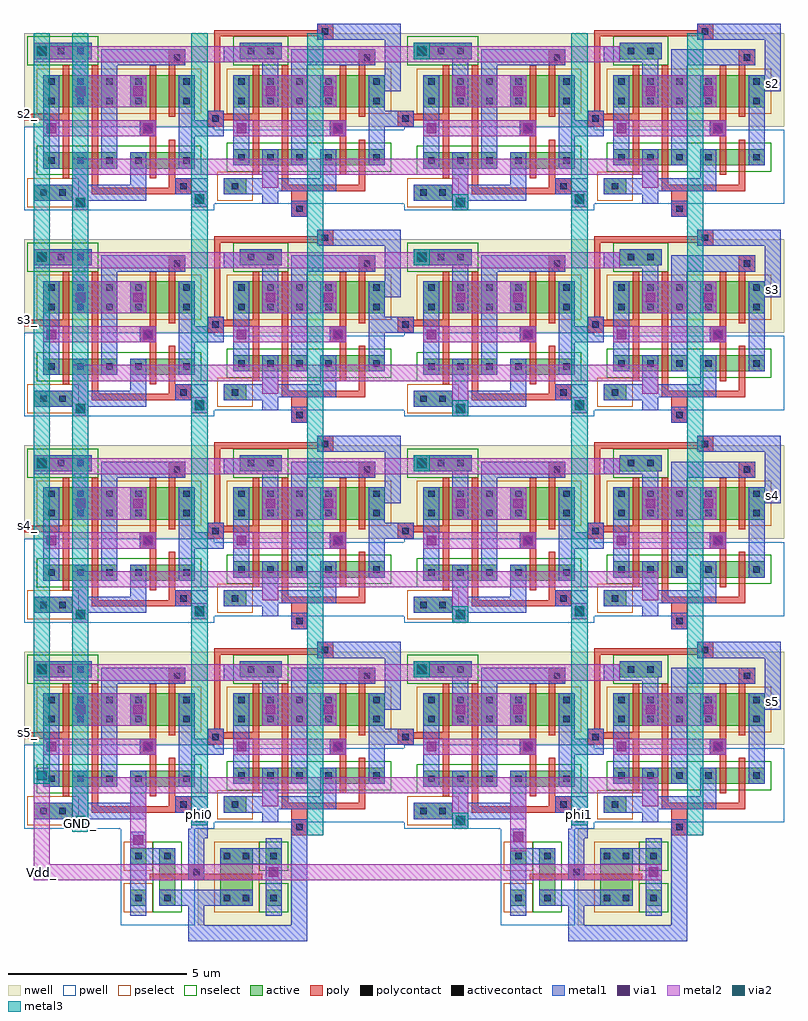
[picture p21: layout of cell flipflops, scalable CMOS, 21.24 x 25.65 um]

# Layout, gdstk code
from math import pi, radians
import gdstk
lib = gdstk.Library(unit=1e-6, precision=1e-09)
def R(c, l, rs):  # rectangles x0, y0, x1, y1
    for r in rs: c.add(gdstk.rectangle(r[:2], r[2:], *l))
def A(c, l, x, y, w, h, nx, ny, dx, dy):  # array of equal rectangles
    R(c, l, [(x+i*dx, y+j*dy, x+i*dx+w, y+j*dy+h) for i in range(nx) for j in range(ny)])
pwell = (41, 0)
nwell = (42, 0)
active = (43, 0)
pselect = (44, 0)
nselect = (45, 0)
poly = (46, 0)
polycontact = (47, 0)
activecontact = (48, 0)
metal1 = (49, 0)
via1 = (50, 0)
metal2 = (51, 0)
via2 = (61, 0)
metal3 = (62, 0)

latch_one = lib.new_cell('latch_one')
R(latch_one, pwell, [(-0.99,-6.03,4.32,-3.69)])
R(latch_one, nwell, [(-0.99,-3.69,4.32,-1.08)])
R(latch_one, active, [(-0.72,-5.76,0.36,-5.31), (-0.45,-4.86,1.62,-4.41), (1.98,-4.86,3.78,-4.41), (-0.45,-3.15,1.62,-2.25), (1.98,-3.15,3.78,-2.25), (-0.72,-1.8,0.9,-1.35)])
R(latch_one, pselect, [(-0.9,-5.94,0.54,-5.13), (-0.63,-3.33,3.96,-2.07)])
R(latch_one, nselect, [(-0.63,-5.04,3.96,-4.23), (-0.9,-1.98,1.08,-1.17)])
R(latch_one, poly, [(0.9,-5.58,3.69,-5.4), (0.9,-5.4,1.08,-1.98), (3.06,-5.4,3.69,-5.13), (0.09,-5.13,0.27,-3.51), (2.52,-5.13,2.7,-3.96), (3.06,-5.13,3.24,-4.05), (2.25,-3.96,2.7,-3.51), (-0.99,-3.51,0.27,-3.33), (2.52,-3.51,2.7,-1.98), (3.06,-3.42,3.24,-1.98), (0.09,-3.33,0.27,-1.98), (3.06,-1.98,3.51,-1.53)])
R(latch_one, polycontact, [(3.375,-5.445,3.555,-5.265), (2.385,-3.825,2.565,-3.645), (3.195,-1.845,3.375,-1.665)])
A(latch_one, activecontact, -0.315, -4.725, 0.18, 0.18, 4, 2, 0.81, 1.665)
A(latch_one, activecontact, -0.315, -2.52, 0.18, 0.18, 4, 1, 0.81, 0)
R(latch_one, activecontact, [(-0.54,-5.625,-0.36,-5.445), (0,-5.625,0.18,-5.445), (3.465,-4.725,3.645,-4.545), (3.465,-3.06,3.645,-2.88), (3.465,-2.52,3.645,-2.34), (-0.045,-1.665,0.135,-1.485), (0.495,-1.665,0.675,-1.485)])
R(latch_one, metal1, [(0.36,-6.03,0.81,-5.76), (3.69,-5.94,4.14,-5.58), (-0.72,-5.76,2.43,-5.31), (3.24,-5.58,4.14,-5.13), (0.36,-5.31,0.81,-4.41), (1.98,-5.31,2.43,-4.41), (-0.45,-4.86,0,-2.25), (1.17,-4.86,1.62,-1.98), (3.33,-4.86,3.78,-3.96), (2.25,-3.96,2.7,-3.51), (3.33,-3.96,4.32,-3.51), (3.33,-3.51,3.78,-2.25), (0.36,-3.15,0.81,-1.8), (1.98,-3.15,2.43,-2.25), (1.17,-1.98,3.51,-1.53), (-0.72,-1.8,0.9,-1.35)])
R(latch_one, via1, [(0.45,-5.94,0.72,-5.67), (3.78,-5.85,4.05,-5.58), (-0.36,-3.87,-0.09,-3.6), (2.34,-3.87,2.61,-3.6), (0.45,-2.835,0.72,-2.565), (2.07,-2.835,2.34,-2.565), (-0.63,-1.71,-0.36,-1.44)])
R(latch_one, metal2, [(0.36,-6.03,0.81,-5.58), (3.69,-5.94,4.14,-5.49), (-0.45,-3.96,2.7,-3.51), (0.36,-3.15,2.43,-2.25), (-0.72,-1.8,-0.27,-1.35)])
R(latch_one, via2, [(0.45,-5.94,0.72,-5.67), (3.78,-5.85,4.05,-5.58), (-0.63,-1.71,-0.36,-1.44)])
R(latch_one, metal3, [(0.36,-6.03,0.81,-5.58), (3.69,-5.94,4.14,-5.49), (-0.72,-1.8,-0.27,-1.35)])
latch_one.add(gdstk.Label('c', (0.99,-2.16), layer=46, texttype=0))
latch_one.add(gdstk.Label('out', (3.6,-3.78), layer=49, texttype=0))
latch_one.add(gdstk.Label('Vdd_', (0.18,-1.62), layer=49, texttype=0))
latch_one.add(gdstk.Label('in', (0.18,-3.42), layer=46, texttype=0))
latch_one.add(gdstk.Label('GND_', (0.18,-5.67), layer=49, texttype=0))

staticizer_one = lib.new_cell('staticizer_one')
R(staticizer_one, pwell, [(4.86,-5.13,10.17,-3.06)])
R(staticizer_one, nwell, [(4.86,-2.97,10.17,-0.36)])
R(staticizer_one, active, [(5.13,-4.86,5.76,-4.41), (5.4,-4.05,7.47,-3.6), (7.83,-4.05,9.63,-3.6), (5.4,-2.43,7.47,-1.53), (7.83,-2.43,9.63,-1.53), (5.58,-1.08,6.75,-0.63)])
R(staticizer_one, pselect, [(4.95,-5.04,5.94,-4.23), (5.22,-2.61,9.81,-1.35)])
R(staticizer_one, nselect, [(5.22,-4.23,9.81,-3.42), (5.4,-1.26,6.93,-0.45)])
R(staticizer_one, poly, [(7.02,-5.49,7.47,-4.77), (6.75,-4.77,9.09,-4.59), (6.75,-4.59,6.93,-1.26), (8.91,-4.59,9.09,-3.33), (5.94,-4.32,6.12,-2.79), (8.37,-4.32,8.55,-3.24), (8.1,-3.24,8.55,-2.79), (4.86,-2.79,6.12,-2.61), (8.37,-2.79,8.55,-1.26), (8.91,-2.7,9.09,-1.26), (4.86,-2.61,5.04,-0.45), (5.94,-2.61,6.12,-1.26), (8.91,-1.26,9.36,-0.81), (7.74,-0.54,8.19,-0.45), (4.86,-0.45,8.19,-0.27), (7.74,-0.27,8.19,-0.09)])
R(staticizer_one, polycontact, [(7.155,-5.355,7.335,-5.175), (8.235,-3.105,8.415,-2.925), (9.045,-1.125,9.225,-0.945), (7.875,-0.405,8.055,-0.225)])
A(staticizer_one, activecontact, 5.535, -3.915, 0.18, 0.18, 4, 2, 0.81, 1.575)
A(staticizer_one, activecontact, 5.535, -1.8, 0.18, 0.18, 4, 1, 0.81, 0)
R(staticizer_one, activecontact, [(5.355,-4.725,5.535,-4.545), (9.315,-3.915,9.495,-3.735), (9.315,-2.34,9.495,-2.16), (9.315,-1.8,9.495,-1.62), (5.805,-0.945,5.985,-0.765), (6.345,-0.945,6.525,-0.765)])
R(staticizer_one, metal1, [(7.02,-5.49,7.47,-5.04), (6.21,-5.13,6.66,-4.86), (5.13,-4.86,6.66,-4.77), (5.13,-4.77,8.28,-4.41), (6.21,-4.41,6.66,-3.6), (7.83,-4.41,8.28,-3.6), (5.4,-4.05,5.85,-1.53), (7.02,-4.05,7.47,-1.26), (9.18,-4.05,9.63,-1.98), (8.1,-3.24,8.55,-2.79), (6.21,-2.43,6.66,-1.17), (7.83,-2.43,8.28,-1.53), (9.18,-1.98,10.08,-1.53), (9.63,-1.53,10.08,-0.54), (7.02,-1.26,9.36,-0.81), (5.13,-1.17,6.66,-1.08), (5.13,-1.08,6.75,-0.72), (5.58,-0.72,6.75,-0.63), (7.74,-0.54,10.08,-0.09)])
R(staticizer_one, via1, [(5.49,-3.15,5.76,-2.88), (8.19,-3.15,8.46,-2.88), (6.3,-2.115,6.57,-1.845), (7.92,-2.115,8.19,-1.845)])
R(staticizer_one, metal2, [(5.4,-3.24,8.55,-2.79), (6.21,-2.43,8.28,-1.53)])
staticizer_one.add(gdstk.Label('in', (6.03,-2.61), layer=46, texttype=0))
staticizer_one.add(gdstk.Label('out', (9.45,-3.06), layer=49, texttype=0))
staticizer_one.add(gdstk.Label('c', (6.84,-1.44), layer=46, texttype=0))
staticizer_one.add(gdstk.Label('Vdd_', (6.03,-0.9), layer=49, texttype=0))

inv2 = lib.new_cell('inv2')
R(inv2, pwell, [(-0.9,-1.17,1.8,0.9)])
R(inv2, nwell, [(-0.9,0.99,1.8,3.6)])
R(inv2, active, [(-0.36,-0.9,0.09,-0.45), (0.81,-0.9,1.26,-0.45), (-0.36,-0.09,1.26,0.36), (-0.36,1.62,1.26,2.52), (-0.36,2.88,0.09,3.33), (0.81,2.88,1.26,3.33)])
R(inv2, pselect, [(-0.54,-1.08,0.27,-0.27), (0.63,-1.08,1.44,-0.27), (-0.54,1.44,1.44,2.7)])
R(inv2, nselect, [(-0.54,-0.27,1.44,0.54), (-0.54,2.7,0.27,3.51), (0.63,2.7,1.44,3.51)])
R(inv2, poly, [(0.36,-0.36,0.54,0.72), (0.09,0.72,0.54,1.17), (0.36,1.17,0.54,2.79)])
R(inv2, polycontact, [(0.225,0.855,0.405,1.035)])
R(inv2, activecontact, [(-0.225,-0.765,-0.045,-0.585), (0.945,-0.765,1.125,-0.585), (-0.225,0.045,-0.045,0.225), (0.945,0.045,1.125,0.225), (-0.225,1.71,-0.045,1.89), (0.945,1.71,1.125,1.89), (-0.225,2.25,-0.045,2.43), (0.945,2.25,1.125,2.43), (-0.225,3.015,-0.045,3.195), (0.945,3.015,1.125,3.195)])
R(inv2, metal1, [(-0.63,-0.9,1.53,-0.45), (-0.36,-0.45,0.09,0.36), (0.81,-0.09,1.26,0.72), (-0.9,0.72,0.54,1.17), (0.81,0.72,1.8,1.17), (0.81,1.17,1.26,2.52), (-0.36,1.62,0.09,2.88), (-0.63,2.88,1.53,3.33)])
inv2.add(gdstk.Label('GND_', (-0.45,-0.63), layer=49, texttype=0))
inv2.add(gdstk.Label('Vdd_', (-0.45,3.06), layer=49, texttype=0))

flipflops = lib.new_cell('flipflops')
A(flipflops, poly, 5.49, -26.1, 0.45, 0.45, 3, 4, 5.31, 5.76)
A(flipflops, poly, 0.36, -25.83, 0.18, 0.18, 1, 4, 0, 5.76)
A(flipflops, polycontact, 5.625, -25.965, 0.18, 0.18, 3, 4, 5.31, 5.76)
A(flipflops, metal1, 5.49, -26.37, 0.45, 0.72, 1, 4, 0, 5.76)
A(flipflops, metal1, 16.11, -26.37, 0.45, 0.72, 1, 4, 0, 5.76)
A(flipflops, metal1, 10.44, -26.1, 0.81, 0.45, 1, 4, 0, 5.76)
A(flipflops, metal1, 21.06, -25.11, 0.45, 0.45, 1, 4, 0, 5.76)
R(flipflops, metal1, [(4.95,-31.59,8.28,-31.14), (15.57,-31.59,18.9,-31.14), (7.83,-31.14,8.28,-28.62), (18.45,-31.14,18.9,-28.62), (7.11,-30.6,7.56,-29.43), (17.73,-29.88,18.18,-29.43), (3.33,-28.98,3.78,-28.53), (13.95,-28.89,14.4,-28.44), (5.04,-28.71,5.49,-28.26), (15.75,-28.71,16.11,-28.44), (15.66,-28.44,16.11,-28.26)])
R(flipflops, via1, [(7.2,-29.79,7.47,-29.52), (17.82,-29.79,18.09,-29.52), (3.42,-28.89,3.69,-28.62), (14.04,-28.8,14.31,-28.53)])
A(flipflops, metal2, 12.33, -27.99, 0.45, 0.54, 1, 4, 0, 5.76)
A(flipflops, metal2, 7.02, -27.81, 0.45, 0.36, 1, 4, 0, 5.76)
A(flipflops, metal2, 17.64, -27.81, 0.45, 0.36, 1, 4, 0, 5.76)
A(flipflops, metal2, 1.71, -27.45, 16.38, 0.45, 1, 4, 0, 5.76)
A(flipflops, metal2, 0.63, -24.3, 16.38, 0.45, 1, 4, 0, 5.76)
A(flipflops, metal2, 1.71, -22.23, 0.45, 0.54, 1, 3, 0, 5.76)
R(flipflops, metal2, [(0.63,-29.88,18.18,-29.43), (0.63,-29.43,1.08,-26.73), (13.95,-29.07,14.4,-27.45), (3.33,-28.98,3.78,-27.45), (1.71,-28.08,2.16,-27.45)])
R(flipflops, via2, [(0.72,-27.09,0.99,-26.82)])
R(flipflops, metal3, [(8.28,-28.62,8.73,-6.21), (18.9,-28.62,19.35,-6.21), (1.71,-28.53,2.16,-6.21), (5.04,-28.26,5.49,-6.21), (15.66,-28.26,16.11,-6.21), (0.63,-27.18,1.08,-6.21)])
flipflops.add(gdstk.Reference(latch_one, (1.35,-22.41)))
flipflops.add(gdstk.Reference(latch_one, (11.97,-22.41)))
flipflops.add(gdstk.Reference(latch_one, (1.35,-16.65)))
flipflops.add(gdstk.Reference(latch_one, (11.97,-16.65)))
flipflops.add(gdstk.Reference(latch_one, (1.35,-10.89)))
flipflops.add(gdstk.Reference(latch_one, (11.97,-10.89)))
flipflops.add(gdstk.Reference(latch_one, (1.35,-5.13)))
flipflops.add(gdstk.Reference(latch_one, (11.97,-5.13)))
flipflops.add(gdstk.Reference(staticizer_one, (0.81,-23.13)))
flipflops.add(gdstk.Reference(staticizer_one, (11.43,-23.13)))
flipflops.add(gdstk.Reference(staticizer_one, (0.81,-17.37)))
flipflops.add(gdstk.Reference(staticizer_one, (11.43,-17.37)))
flipflops.add(gdstk.Reference(staticizer_one, (0.81,-11.61)))
flipflops.add(gdstk.Reference(staticizer_one, (11.43,-11.61)))
flipflops.add(gdstk.Reference(staticizer_one, (0.81,-5.85)))
flipflops.add(gdstk.Reference(staticizer_one, (11.43,-5.85)))
flipflops.add(gdstk.Reference(inv2, (4.23,-29.34), rotation=3*pi/2))
flipflops.add(gdstk.Reference(inv2, (14.85,-29.34), rotation=3*pi/2))
flipflops.add(gdstk.Label('s2_', (0.45,-8.46), layer=46, texttype=0))
flipflops.add(gdstk.Label('s3_', (0.45,-14.22), layer=46, texttype=0))
flipflops.add(gdstk.Label('s4_', (0.45,-19.98), layer=46, texttype=0))
flipflops.add(gdstk.Label('s5_', (0.45,-25.74), layer=46, texttype=0))
flipflops.add(gdstk.Label('phi0', (5.265,-28.035), layer=62, texttype=0))
flipflops.add(gdstk.Label('phi1', (15.885,-28.035), layer=62, texttype=0))
flipflops.add(gdstk.Label('s2', (21.285,-7.605), layer=49, texttype=0))
flipflops.add(gdstk.Label('s3', (21.285,-13.365), layer=49, texttype=0))
flipflops.add(gdstk.Label('s4', (21.285,-19.125), layer=49, texttype=0))
flipflops.add(gdstk.Label('s5', (21.285,-24.885), layer=49, texttype=0))
flipflops.add(gdstk.Label('GND_', (1.935,-28.305), layer=62, texttype=0))
flipflops.add(gdstk.Label('Vdd_', (0.855,-29.655), layer=51, texttype=0))

lib.write_gds('flipflops.gds')
